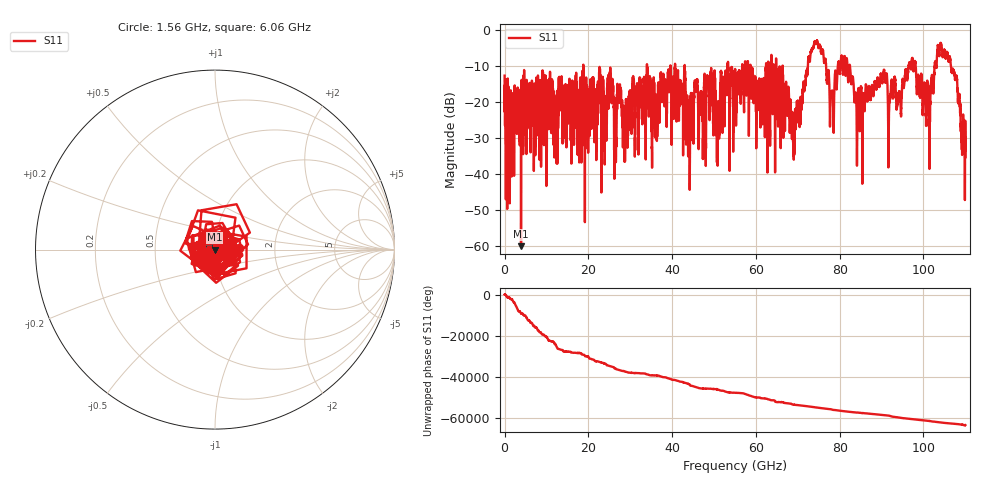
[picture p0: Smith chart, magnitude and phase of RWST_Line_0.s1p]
#  HZ  S  RI  R  50.00
! Rohde & Schwarz ZVA67 4Ports - Version 4.11 - 1305.7002k04 SN: 101032
! Date: 2026-02-18 15:02:31
! Measurement: a1d2/b1d2sam
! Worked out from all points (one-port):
!   5500 points, 20 MHz to 110 GHz, reference 50 ohm
!   lowest |S11| = -60.1 dB at 3.94 GHz (marker M1), VSWR 1.00, Z = 49.9 + j0.0531 ohm
!   |S11| at or under -10 dB: start of sweep to 18.8 GHz; 18.81 GHz to 33.97 GHz (15.17 GHz wide, 57.5 % of centre); 82.46 GHz to 96.44 GHz (13.98 GHz wide, 15.6 % of centre)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
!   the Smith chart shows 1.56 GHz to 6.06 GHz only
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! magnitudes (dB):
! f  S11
! 20 MHz  -12.6
! 3.94 GHz  -60.1
! 13.78 GHz  -17.3
! 27.52 GHz  -16.4
! 28.8 GHz  -27.6
! 34.34 GHz  -19.8
! 41.28 GHz  -11.4
! 43.86 GHz  -25.6
! 45.68 GHz  -16.7
! 46.88 GHz  -18.8
! 49 GHz  -17.2
! 50.9 GHz  -31.2
! 53.08 GHz  -18.1
! 55.02 GHz  -11.5
! 63.96 GHz  -20.7
! 68.76 GHz  -25.6
! 74.22 GHz  -3.3
! 78.12 GHz  -17.8
! 80.06 GHz  -11.9
! 82.52 GHz  -10.6
! 84.42 GHz  -16.6
! 90.24 GHz  -14.3
! 94.2 GHz  -17.6
! 96.26 GHz  -12.0
! 101 GHz  -15.8
! 103.8 GHz  -6.8
! 105.9 GHz  -8.3
! 110 GHz  -33.4
